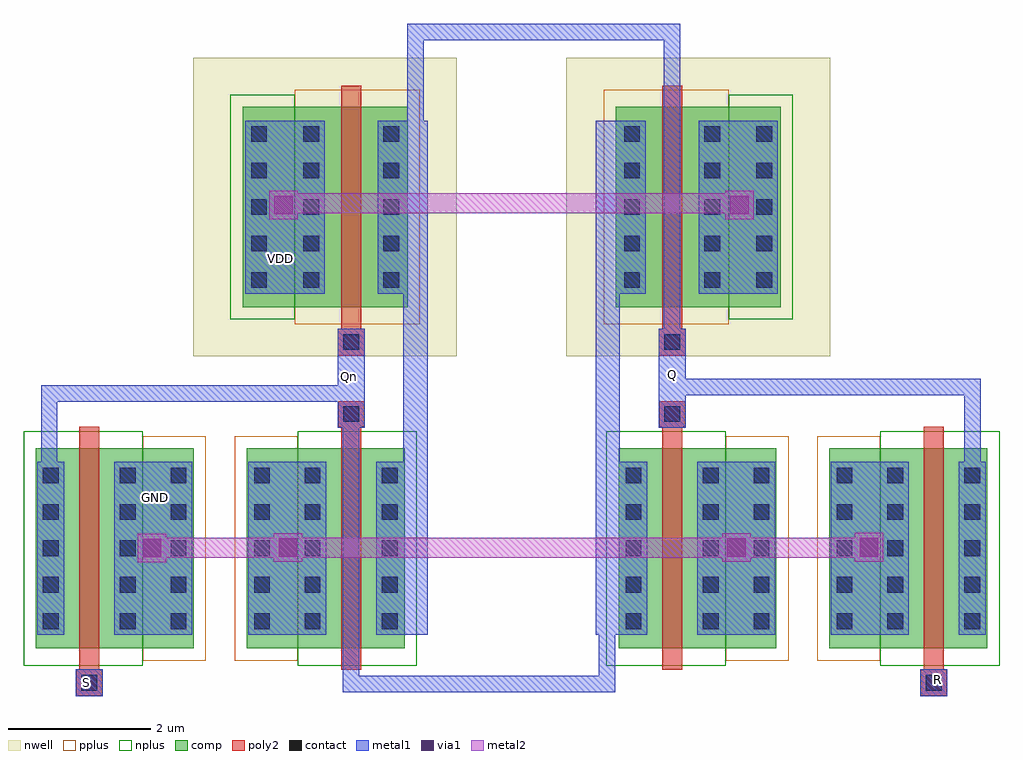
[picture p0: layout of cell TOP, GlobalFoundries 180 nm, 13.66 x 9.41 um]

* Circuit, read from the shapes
.subckt TOP GND Q Qn R S VDD
XM1 GND S Qn GND nfet_03v3 w=2.8u l=0.28u
XM2 Q Qn GND GND nfet_03v3 w=2.8u l=0.28u
XM3 GND Q Qn GND nfet_03v3 w=2.8u l=0.28u
XM4 Q R GND GND nfet_03v3 w=2.8u l=0.28u
XM5 Q Qn VDD VDD pfet_03v3 w=2.8u l=0.28u
XM6 VDD Q Qn VDD pfet_03v3 w=2.8u l=0.28u
.ends

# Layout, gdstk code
import gdstk
lib = gdstk.Library(unit=1e-6, precision=5e-09)
def R(c, l, rs):  # rectangles x0, y0, x1, y1
    for r in rs: c.add(gdstk.rectangle(r[:2], r[2:], *l))
def A(c, l, x, y, w, h, nx, ny, dx, dy):  # array of equal rectangles
    R(c, l, [(x+i*dx, y+j*dy, x+i*dx+w, y+j*dy+h) for i in range(nx) for j in range(ny)])
nwell = (21, 0)
comp = (22, 0)
poly2 = (30, 0)
pplus = (31, 0)
nplus = (32, 0)
contact = (33, 0)
metal1 = (34, 0)
via1 = (35, 0)
metal2 = (36, 0)

top = lib.new_cell('TOP')
R(top, nwell, [(4.29,10.18,7.98,14.36), (9.51,10.18,13.2,14.36)])
R(top, comp, [(2.085,6.095,2.505,8.895), (2.505,6.095,3.165,8.895), (3.165,6.095,3.585,8.895), (3.585,6.095,4.295,8.895), (5.04,6.095,5.75,8.895), (5.75,6.095,6.17,8.895), (6.17,6.095,6.83,8.895), (6.83,6.095,7.25,8.895), (10.24,6.095,10.66,8.895), (10.66,6.095,11.32,8.895), (11.32,6.095,11.74,8.895), (11.74,6.095,12.45,8.895), (13.19,6.095,13.9,8.895), (13.9,6.095,14.32,8.895), (14.32,6.095,14.98,8.895), (14.98,6.095,15.4,8.895), (4.98,10.87,5.71,13.67), (5.71,10.87,6.17,13.67), (6.17,10.87,6.83,13.67), (6.83,10.87,7.29,13.67), (10.2,10.87,10.66,13.67), (10.66,10.87,11.32,13.67), (11.32,10.87,11.78,13.67), (11.78,10.87,12.51,13.67)])
R(top, poly2, [(2.655,5.435,3.015,5.795), (14.47,5.435,14.83,5.795), (2.695,5.795,2.975,9.195), (6.36,5.795,6.64,9.195), (10.85,5.795,11.13,9.195), (14.51,5.795,14.79,9.195), (6.32,9.195,6.68,9.555), (10.81,9.195,11.17,9.555), (6.31,10.19,6.69,10.57), (10.8,10.19,11.18,10.57), (6.36,10.57,6.64,13.97), (10.85,10.57,11.13,13.97)])
R(top, pplus, [(3.585,5.925,4.465,9.065), (4.87,5.925,5.75,9.065), (11.74,5.925,12.62,9.065), (13.02,5.925,13.9,9.065), (5.71,10.63,7.46,13.91), (10.03,10.63,11.78,13.91)])
R(top, nplus, [(1.915,5.855,3.585,9.135), (5.75,5.855,7.42,9.135), (10.07,5.855,11.74,9.135), (13.9,5.855,15.57,9.135), (4.81,10.7,5.71,13.84), (11.78,10.7,12.68,13.84)])
A(top, contact, 2.185, 6.365, 0.22, 0.22, 1, 5, 0, 0.51)
A(top, contact, 3.265, 6.365, 0.22, 0.22, 1, 5, 0, 0.51)
A(top, contact, 3.975, 6.365, 0.22, 0.22, 1, 5, 0, 0.51)
A(top, contact, 5.14, 6.365, 0.22, 0.22, 1, 5, 0, 0.51)
A(top, contact, 5.85, 6.365, 0.22, 0.22, 1, 5, 0, 0.51)
A(top, contact, 6.93, 6.365, 0.22, 0.22, 1, 5, 0, 0.51)
A(top, contact, 10.34, 6.365, 0.22, 0.22, 1, 5, 0, 0.51)
A(top, contact, 11.42, 6.365, 0.22, 0.22, 1, 5, 0, 0.51)
A(top, contact, 12.13, 6.365, 0.22, 0.22, 1, 5, 0, 0.51)
A(top, contact, 13.29, 6.365, 0.22, 0.22, 1, 5, 0, 0.51)
A(top, contact, 14, 6.365, 0.22, 0.22, 1, 5, 0, 0.51)
A(top, contact, 15.08, 6.365, 0.22, 0.22, 1, 5, 0, 0.51)
A(top, contact, 5.1, 11.14, 0.22, 0.22, 1, 5, 0, 0.51)
A(top, contact, 5.83, 11.14, 0.22, 0.22, 1, 5, 0, 0.51)
A(top, contact, 6.95, 11.14, 0.22, 0.22, 1, 5, 0, 0.51)
A(top, contact, 10.32, 11.14, 0.22, 0.22, 1, 5, 0, 0.51)
A(top, contact, 11.44, 11.14, 0.22, 0.22, 1, 5, 0, 0.51)
A(top, contact, 12.17, 11.14, 0.22, 0.22, 1, 5, 0, 0.51)
R(top, contact, [(2.725,5.505,2.945,5.725), (14.54,5.505,14.76,5.725), (6.39,9.265,6.61,9.485), (10.88,9.265,11.1,9.485), (6.39,10.27,6.61,10.49), (10.88,10.27,11.1,10.49)])
R(top, metal1, [(2.645,5.425,3.025,5.805), (14.46,5.425,14.84,5.805), (2.105,6.285,2.485,8.705), (3.185,6.285,4.275,8.705), (3.185,6.285,3.565,8.705), (3.895,6.285,4.275,8.705), (5.06,6.285,6.15,8.705), (5.06,6.285,5.44,8.705), (5.77,6.285,6.15,8.705), (6.85,6.285,7.23,8.705), (7.23,6.285,7.57,13.48), (9.92,6.285,10.26,13.48), (10.26,6.285,10.64,8.705), (11.34,6.285,12.43,8.705), (11.34,6.285,11.72,8.705), (12.05,6.285,12.43,8.705), (13.21,6.285,14.3,8.705), (13.21,6.285,13.59,8.705), (13.92,6.285,14.3,8.705), (15,6.285,15.38,8.705), (3.515,7.3,3.915,7.7), (5.415,7.305,5.815,7.705), (11.69,7.305,12.09,7.705), (13.545,7.31,13.945,7.71), (6.31,9.185,6.69,10.57), (6.31,9.185,6.69,9.565), (10.8,9.185,11.18,10.57), (10.8,9.185,11.18,9.565), (6.31,10.19,6.69,10.57), (10.8,10.19,11.18,10.57), (5.02,11.055,6.13,13.475), (5.02,11.06,5.4,13.48), (5.75,11.06,6.13,13.48), (6.87,11.06,7.25,13.48), (10.24,11.06,10.62,13.48), (11.36,11.06,12.47,13.48), (11.36,11.06,11.74,13.48), (12.09,11.06,12.47,13.48), (5.355,12.1,5.755,12.5), (11.73,12.1,12.13,12.5)])
R(top, via1, [(3.585,7.37,3.845,7.63), (5.485,7.375,5.745,7.635), (11.76,7.375,12.02,7.635), (13.615,7.38,13.875,7.64), (5.425,12.17,5.685,12.43), (11.8,12.17,12.06,12.43)])
R(top, metal2, [(3.515,7.3,3.915,7.7), (5.415,7.305,5.815,7.705), (11.69,7.305,12.09,7.705), (13.545,7.31,13.945,7.71), (5.355,12.1,5.755,12.5), (11.73,12.1,12.13,12.5)])
top.add(gdstk.FlexPath([(10.985,10.495),(10.985,14.72),(7.4,14.72),(7.4,13.37)], 0.23, ends="flush", simple_path=True, layer=34, datatype=0))  # metal1
top.add(gdstk.FlexPath([(6.495,9.31),(6.495,5.6),(10.08,5.6),(10.08,6.555)], 0.23, ends="flush", simple_path=True, layer=34, datatype=0))  # metal1
top.add(gdstk.FlexPath([(15.19,8.62),(15.19,9.755),(11.13,9.755)], 0.23, ends="flush", simple_path=True, layer=34, datatype=0))  # metal1
top.add(gdstk.FlexPath([(2.275,8.65),(2.275,9.66),(6.375,9.66)], 0.23, ends="flush", simple_path=True, layer=34, datatype=0))  # metal1
top.add(gdstk.FlexPath([(13.735,7.5),(3.66,7.5)], 0.28, ends="flush", simple_path=True, layer=36, datatype=0))  # metal2
top.add(gdstk.FlexPath([(5.555,12.32),(11.955,12.32)], 0.28, ends="flush", simple_path=True, layer=36, datatype=0))  # metal2
top.add(gdstk.Label('S', (2.8,5.62), layer=34, texttype=10))
top.add(gdstk.Label('R', (14.705,5.66), layer=34, texttype=10))
top.add(gdstk.Label('GND', (3.755,8.2), layer=34, texttype=10))
top.add(gdstk.Label('VDD', (5.51,11.555), layer=34, texttype=10))
top.add(gdstk.Label('Qn', (6.48,9.9), layer=34, texttype=10))
top.add(gdstk.Label('Q', (10.99,9.925), layer=34, texttype=10))

lib.write_gds('TOP.gds')
